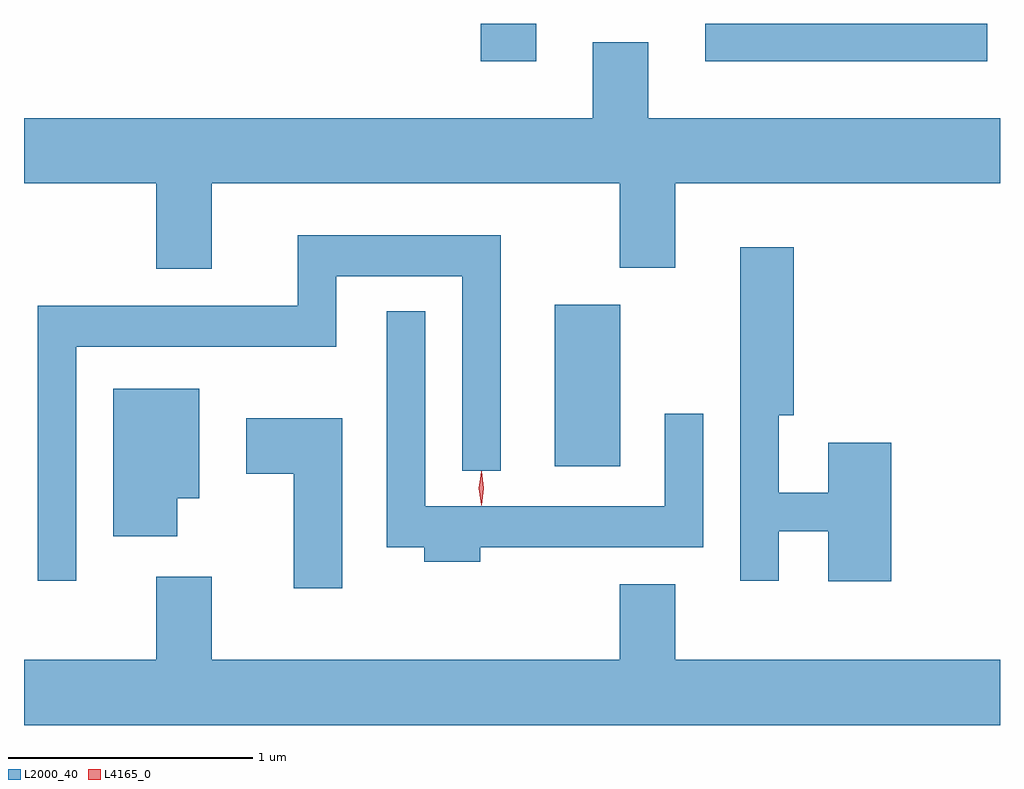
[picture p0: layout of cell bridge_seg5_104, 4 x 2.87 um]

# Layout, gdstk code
import gdstk
lib = gdstk.Library(unit=1e-6, precision=1e-09)
def R(c, l, rs):  # rectangles x0, y0, x1, y1
    for r in rs: c.add(gdstk.rectangle(r[:2], r[2:], *l))
def P(c, l, *ps):  # polygons
    for p in ps: c.add(gdstk.Polygon(p, *l))
L2000_40 = (2000, 40)
L4165_0 = (4165, 0)

bridge_seg5_104 = lib.new_cell('bridge_seg5_104')
R(bridge_seg5_104, L2000_40, [(1187.246,1504.476,1187.514,1505.139), (1186.941,1506.136,1187.169,1506.29), (1187.861,1506.136,1189.018,1506.29)])
P(bridge_seg5_104, L2000_40, [(1185.07,1505.636),(1185.611,1505.636),(1185.611,1505.286),(1185.839,1505.286),(1185.839,1505.636),(1187.511,1505.636),(1187.511,1505.291),(1187.739,1505.291),(1187.739,1505.636),(1189.07,1505.636),(1189.07,1505.904),(1187.629,1505.904),(1187.629,1506.214),(1187.401,1506.214),(1187.401,1505.904),(1185.07,1505.904)],
  [(1185.284,1504.966),(1186.349,1504.966),(1186.349,1505.256),(1186.866,1505.256),(1186.866,1504.458),(1187.024,1504.458),(1187.024,1505.424),(1186.191,1505.424),(1186.191,1505.134),(1185.126,1505.134),(1185.126,1504.008),(1185.284,1504.008)],
  [(1188.624,1504.574),(1188.366,1504.574),(1188.366,1504.369),(1188.164,1504.369),(1188.164,1504.686),(1188.224,1504.686),(1188.224,1505.374),(1188.006,1505.374),(1188.006,1504.008),(1188.164,1504.008),(1188.164,1504.211),(1188.366,1504.211),(1188.366,1504.006),(1188.624,1504.006)],
  [(1186.939,1504.146),(1187.854,1504.146),(1187.854,1504.693),(1187.696,1504.693),(1187.696,1504.314),(1186.714,1504.314),(1186.714,1505.113),(1186.556,1505.113),(1186.556,1504.146),(1186.711,1504.146),(1186.711,1504.086),(1186.939,1504.086)],
  [(1185.699,1504.346),(1185.789,1504.346),(1185.789,1504.794),(1185.436,1504.794),(1185.436,1504.191),(1185.699,1504.191)],
  [(1186.374,1504.674),(1185.981,1504.674),(1185.981,1504.446),(1186.176,1504.446),(1186.176,1503.976),(1186.374,1503.976)],
  [(1189.07,1503.684),(1187.739,1503.684),(1187.739,1503.994),(1187.511,1503.994),(1187.511,1503.684),(1185.839,1503.684),(1185.839,1504.024),(1185.611,1504.024),(1185.611,1503.684),(1185.07,1503.684),(1185.07,1503.416),(1189.07,1503.416)])
P(bridge_seg5_104, L4165_0, [(1186.945,1504.317),(1186.944,1504.318),(1186.935,1504.387),(1186.944,1504.456),(1186.945,1504.456),(1186.946,1504.456),(1186.955,1504.387),(1186.946,1504.318)],
  [(1186.943,1504.32),(1186.934,1504.386),(1186.943,1504.452),(1186.944,1504.453),(1186.944,1504.452),(1186.954,1504.386),(1186.944,1504.32),(1186.944,1504.32)])

lib.write_gds('bridge_seg5_104.gds')
